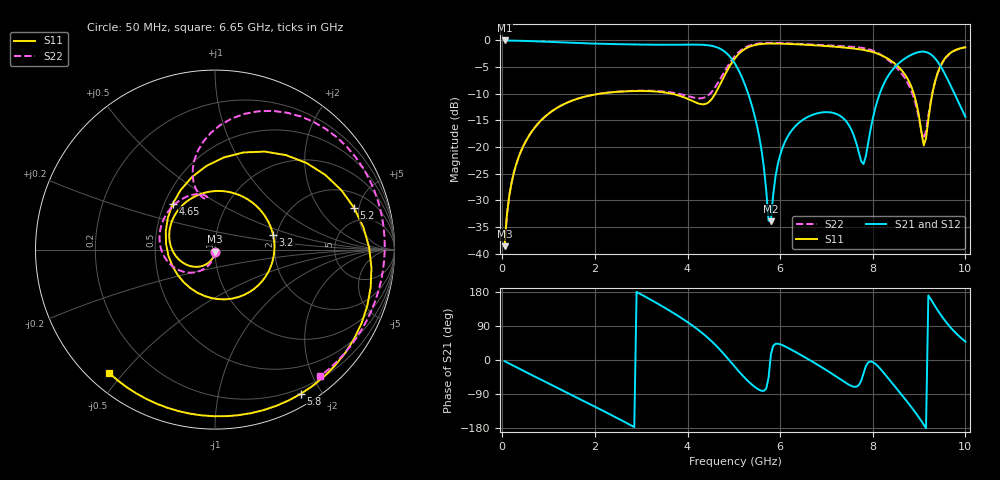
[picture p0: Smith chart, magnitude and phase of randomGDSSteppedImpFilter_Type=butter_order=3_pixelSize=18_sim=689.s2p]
! freq	dB(S11)	phase(S11)	dB(S12)	phase(S12)
!  dB(S21)	phase(S21)	dB(S22)	phase(S22)
!S-par simulation data
#  GHz  S  DB  R 50
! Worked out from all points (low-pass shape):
!   200 points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, 50 MHz to 10 GHz, reference 50 ohm
!   highest |S21| = -0.01 dB at 50 MHz (marker M1); lowest = -33.9 dB at 5.8 GHz (marker M2)
!   |S21| within 3 dB of the highest: start of sweep to 4.91 GHz; 8.767 GHz to 9.306 GHz (539.2 MHz wide, 5.97 % of centre)
!   lowest |S11| = -38.6 dB at 50 MHz (marker M3), VSWR 1.02, Z = 49.9 - j1.17 ohm
!   |S11| at or under -10 dB: start of sweep to 2.107 GHz; 3.658 GHz to 4.598 GHz (939.4 MHz wide, 22.8 % of centre); 8.886 GHz to 9.287 GHz (401.2 MHz wide, 4.42 % of centre)
!   |S22| runs from -38.6 to -0.5 dB; largest |S21 - S12| = 0
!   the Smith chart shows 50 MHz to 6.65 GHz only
!   S11 on the Smith chart (normalised r, x): 50 MHz: 1.00, -0.02; 3.2 GHz: 1.92, +0.35; 4.65 GHz: 0.55, +0.32; 5.2 GHz: 3.32, +4.46; 5.8 GHz: 0.14, -1.75; 6.65 GHz: 0.06, -0.46
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0.05  -38.62 -92.4  -0.01 -3.2  -0.01 -3.2  -38.61 -91.3
0.2  -26.73 -104.5  -0.03 -12.6  -0.03 -12.6  -26.71 -100.5
0.5  -19.04 -126.6  -0.10 -31.2  -0.10 -31.2  -19.03 -116.7
1.75  -10.63 140.3  -0.53 -107.8  -0.53 -107.8  -10.62 -177.1
3.2  -9.53 14.0  -0.80 159.5  -0.80 159.5  -9.44 124.7
3.4  -9.65 -6.0  -0.81 145.6  -0.81 145.6  -9.52 117.2
4.15  -11.54 -102.9  -0.78 87.0  -0.78 87.0  -10.76 98.2
4.65  -9.17 132.5  -1.34 33.7  -1.34 33.7  -8.06 107.6
5.05  -3.07 43.4  -4.75 -22.0  -4.75 -22.0  -2.66 82.8
5.2  -1.84 16.6  -7.45 -42.5  -7.45 -42.5  -1.55 67.5
5.8  -0.58 -59.3  -33.92 14.4  -33.92 14.4  -0.46 12.2
6.05  -0.61 -82.0  -20.17 39.1  -20.17 39.1  -0.51 -7.0
6.65  -0.86 -130.8  -14.14 -1.0  -14.14 -1.0  -0.75 -50.2
6.7  -0.89 -134.9  -13.96 -4.6  -13.96 -4.6  -0.77 -53.7
7.3  -1.27 166.2  -14.19 -50.9  -14.19 -50.9  -1.06 -99.5
7.75  -1.71 95.8  -22.67 -54.7  -22.67 -54.7  -1.37 -142.5
8.05  -2.32 30.7  -12.85 -9.5  -12.85 -9.5  -2.09 -179.3
8.35  -3.56 -33.3  -6.41 -50.7  -6.41 -50.7  -3.79 138.9
8.75  -7.18 -96.7  -3.09 -111.2  -3.09 -111.2  -7.92 80.7
9.1  -19.70 -84.7  -2.11 -170.4  -2.11 -170.4  -18.46 87.2
9.45  -5.03 -54.2  -4.64 122.3  -4.64 122.3  -5.12 92.6
10  -1.29 -112.6  -14.34 48.4  -14.34 48.4  -1.24 21.0
